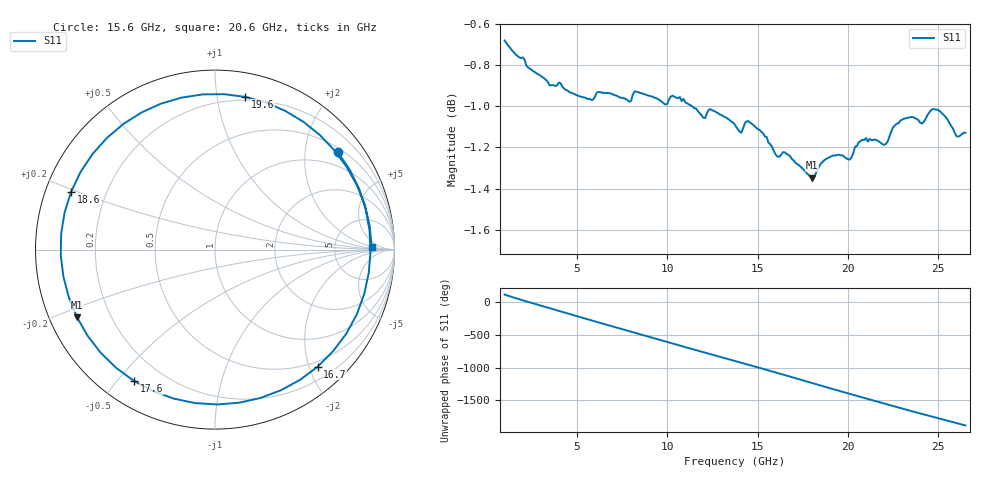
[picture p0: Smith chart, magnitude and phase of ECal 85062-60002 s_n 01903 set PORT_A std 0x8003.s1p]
!Created with skrf (http://scikit-rf.org).
# Hz S RI R 50.0
!freq ReS11 ImS11
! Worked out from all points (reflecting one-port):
!   256 points, 1 GHz to 26.5 GHz, reference 50 ohm
!   lowest |S11| = -1.3 dB at 18 GHz (marker M1), VSWR 12.93, Z = 4.07 - j11.5 ohm
!   phase of S11 starts at 117 deg and turns -2000 deg over the sweep
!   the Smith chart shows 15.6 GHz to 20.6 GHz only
!   S11 on the Smith chart (normalised r, x): 15.6 GHz: 0.60, +2.75; 16.7 GHz: 0.41, -2.15; 17.6 GHz: 0.10, -0.55; 18.6 GHz: 0.08, +0.19; 19.6 GHz: 0.18, +1.20; 20.6 GHz: 15, +2
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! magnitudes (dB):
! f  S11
! 1 GHz  -0.7
! 3.5 GHz  -0.9
! 4.2 GHz  -0.9
! 5.8 GHz  -1.0
! 6.2 GHz  -0.9
! 7.4 GHz  -1.0
! 10.6 GHz  -1.0
! 12 GHz  -1.1
! 13.8 GHz  -1.1
! 14.1 GHz  -1.1
! 14.5 GHz  -1.1
! 15.6 GHz  -1.2
! 16.1 GHz  -1.2
! 16.7 GHz  -1.2
! 17 GHz  -1.3
! 17.6 GHz  -1.3
! 18 GHz  -1.3
! 18.6 GHz  -1.3
! 19.6 GHz  -1.2
! 20.2 GHz  -1.2
! 20.6 GHz  -1.2
! 22 GHz  -1.2
! 22.5 GHz  -1.1
! 23.4 GHz  -1.1
! 24.1 GHz  -1.1
! 24.9 GHz  -1.0
! 26 GHz  -1.1
! 26.5 GHz  -1.1
